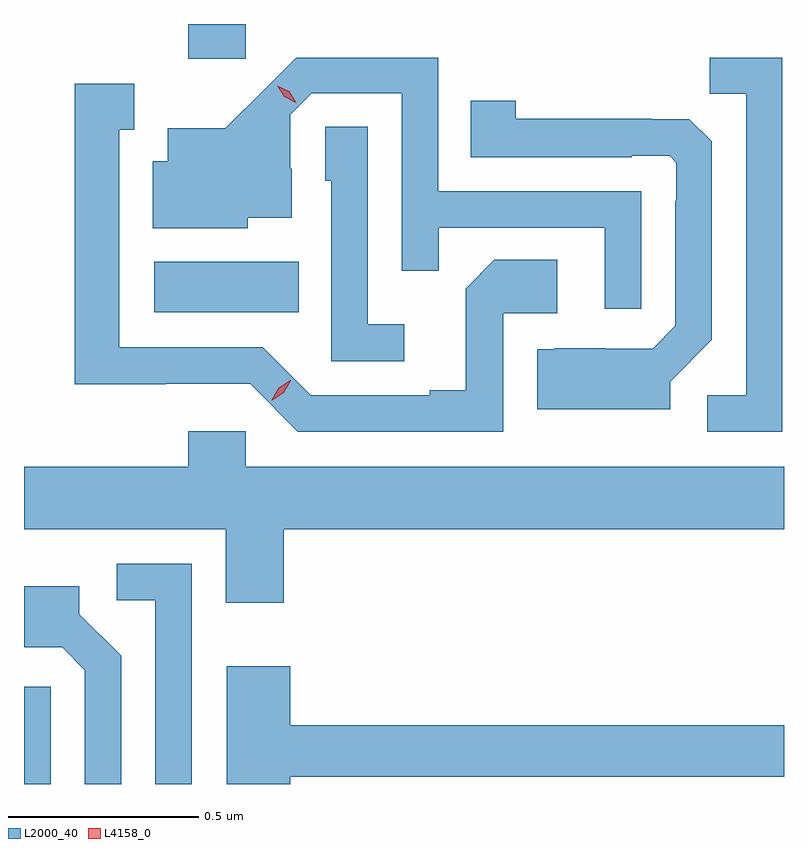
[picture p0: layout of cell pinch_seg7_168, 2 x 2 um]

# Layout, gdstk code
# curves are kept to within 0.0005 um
import gdstk
lib = gdstk.Library(unit=1e-6, precision=1e-09)
def R(c, l, rs):  # rectangles x0, y0, x1, y1
    for r in rs: c.add(gdstk.rectangle(r[:2], r[2:], *l))
def P(c, l, *ps):  # polygons
    for p in ps: c.add(gdstk.Polygon(p, *l))
L2000_40 = (2000, 40)
L4158_0 = (4158, 0)

pinch_seg7_168 = lib.new_cell('pinch_seg7_168')
R(pinch_seg7_168, L2000_40, [(1047.899,1034.577,1047.969,1034.833), (1048.242,1035.818,1048.622,1035.952), (1048.331,1036.485,1048.482,1036.577)])
P(pinch_seg7_168, L2000_40, [(1049.895,1036.488),(1049.704,1036.488),(1049.704,1036.393),(1049.799,1036.393),(1049.799,1035.6),(1049.697,1035.6),(1049.697,1035.504),(1049.895,1035.504)],
  [(1049.523,1036.137),(1048.989,1036.137),(1048.989,1036.488),(1048.616,1036.488),(1048.429,1036.303),(1048.277,1036.303),(1048.277,1036.216),(1048.238,1036.216),(1048.238,1036.04),(1048.488,1036.04),(1048.488,1036.067),(1048.603,1036.067),(1048.603,1036.196),(1048.599,1036.196),(1048.599,1036.338),(1048.656,1036.395),(1048.893,1036.395),(1048.893,1035.928),(1048.991,1035.928),(1048.991,1036.041),(1049.427,1036.041),(1049.427,1035.828),(1049.523,1035.828)],
  [(1049.16,1035.816),(1049.302,1035.816),(1049.302,1035.956),(1049.137,1035.956),(1049.061,1035.88),(1049.061,1035.613),(1048.967,1035.613),(1048.967,1035.6),(1048.653,1035.6),(1048.527,1035.726),(1048.15,1035.726),(1048.15,1036.299),(1048.189,1036.299),(1048.189,1036.42),(1048.032,1036.42),(1048.032,1035.629),(1048.272,1035.629),(1048.272,1035.63),(1048.494,1035.63),(1048.62,1035.504),(1049.16,1035.504)],
  [(1049.599,1035.636),(1049.709,1035.746),(1049.709,1036.268),(1049.65,1036.327),(1049.549,1036.327),(1049.549,1036.328),(1049.193,1036.328),(1049.193,1036.375),(1049.074,1036.375),(1049.074,1036.227),(1049.498,1036.227),(1049.498,1036.23),(1049.598,1036.23),(1049.616,1036.212),(1049.616,1036.112),(1049.613,1036.112),(1049.613,1035.783),(1049.553,1035.723),(1049.43,1035.723),(1049.43,1035.724),(1049.296,1035.724),(1049.293,1035.721),(1049.249,1035.721),(1049.249,1035.563),(1049.599,1035.563)],
  [(1048.9,1035.787),(1048.803,1035.787),(1048.803,1036.307),(1048.692,1036.307),(1048.692,1036.164),(1048.707,1036.164),(1048.707,1035.69),(1048.9,1035.69)],
  [(1048.583,1035.248),(1049.899,1035.248),(1049.899,1035.412),(1048.482,1035.412),(1048.482,1035.505),(1048.331,1035.505),(1048.331,1035.412),(1047.899,1035.412),(1047.899,1035.248),(1048.43,1035.248),(1048.43,1035.054),(1048.583,1035.054)],
  [(1048.341,1035.156),(1048.143,1035.156),(1048.143,1035.06),(1048.245,1035.06),(1048.245,1034.577),(1048.341,1034.577)],
  [(1048.155,1034.914),(1048.045,1035.024),(1048.045,1035.097),(1047.899,1035.097),(1047.899,1034.937),(1047.999,1034.937),(1048.059,1034.877),(1048.059,1034.577),(1048.155,1034.577)],
  [(1048.6,1034.596),(1049.899,1034.596),(1049.899,1034.732),(1048.6,1034.732),(1048.6,1034.887),(1048.433,1034.887),(1048.433,1034.577),(1048.6,1034.577)])
P(pinch_seg7_168, L4158_0, [(1048.614,1036.37),(1048.584,1036.385),(1048.566,1036.414),(1048.566,1036.415),(1048.566,1036.415),(1048.597,1036.4),(1048.615,1036.37),(1048.615,1036.37)],
  [(1048.551,1035.587),(1048.551,1035.588),(1048.569,1035.62),(1048.6,1035.639),(1048.601,1035.639),(1048.601,1035.638),(1048.583,1035.606),(1048.552,1035.587)])

lib.write_gds('pinch_seg7_168.gds')
